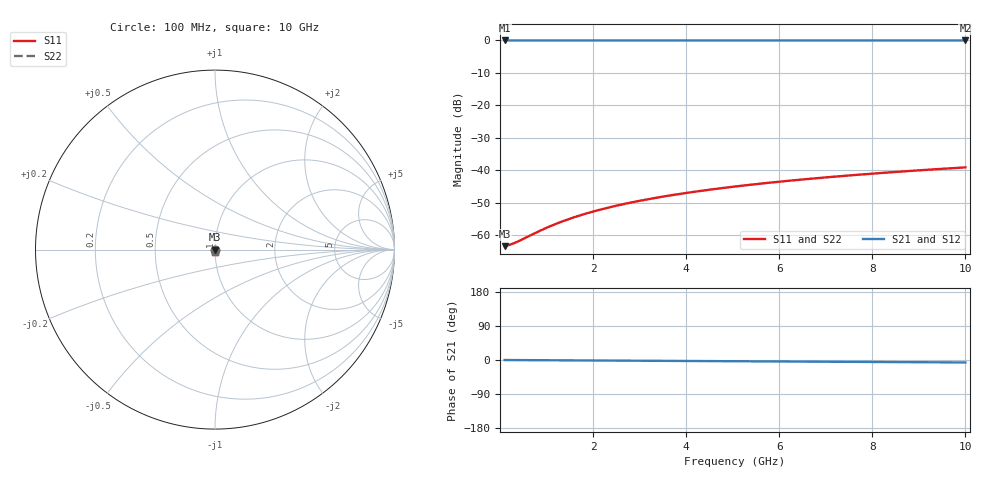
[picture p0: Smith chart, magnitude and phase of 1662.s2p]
# Hz S RI R 50.00
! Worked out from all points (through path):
!   100 points, 100 MHz to 10 GHz, reference 50 ohm
!   highest |S21| = -0.01 dB at 100 MHz (marker M1); lowest = 0.0 dB at 10 GHz (marker M2)
!   lowest |S11| = -63.4 dB at 100 MHz (marker M3), VSWR 1.00, Z = 50.1 - j0.0111 ohm
!   |S11| at or under -10 dB: start of sweep to end of sweep
!   |S22| runs from -63.4 to -39.1 dB; largest |S21 - S12| = 0
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1e8  0.000665 -0.000111  0.9993 -0.00113  0.9993 -0.00113  0.000665 -0.000111
2e8  0.000668 -0.000221  0.9993 -0.00226  0.9993 -0.00226  0.000668 -0.000221
3e8  0.00067 -0.000332  0.9993 -0.00339  0.9993 -0.00339  0.00067 -0.000332
4e8  0.000672 -0.000442  0.9993 -0.00452  0.9993 -0.00452  0.000672 -0.000442
9e8  0.00067 -0.000995  0.9993 -0.0102  0.9993 -0.0102  0.00067 -0.000995
1.2e9  0.000665 -0.00133  0.9992 -0.0136  0.9992 -0.0136  0.000665 -0.00133
1.5e9  0.000657 -0.00166  0.9992 -0.0169  0.9992 -0.0169  0.000657 -0.00166
1.8e9  0.000646 -0.00199  0.9991 -0.0203  0.9991 -0.0203  0.000646 -0.00199
2.1e9  0.000633 -0.00232  0.999 -0.0237  0.999 -0.0237  0.000633 -0.00232
2.5e9  0.000612 -0.00276  0.9989 -0.0282  0.9989 -0.0282  0.000612 -0.00276
2.9e9  0.000586 -0.00321  0.9987 -0.0328  0.9987 -0.0328  0.000586 -0.00321
3.4e9  0.000548 -0.00376  0.9985 -0.0384  0.9985 -0.0384  0.000548 -0.00376
3.8e9  0.000513 -0.0042  0.9983 -0.0429  0.9983 -0.0429  0.000513 -0.0042
4.2e9  0.000475 -0.00464  0.9981 -0.0474  0.9981 -0.0474  0.000475 -0.00464
4.6e9  0.000432 -0.00509  0.9979 -0.052  0.9979 -0.052  0.000432 -0.00509
5.1e9  0.000372 -0.00564  0.9976 -0.0576  0.9976 -0.0576  0.000372 -0.00564
5.9e9  0.000264 -0.00652  0.997 -0.0666  0.997 -0.0666  0.000264 -0.00652
6.7e9  0.00014 -0.0074  0.9963 -0.0757  0.9963 -0.0757  0.00014 -0.0074
7.5e9  -4.35e-07 -0.00829  0.9956 -0.0847  0.9956 -0.0847  -4.35e-07 -0.00829
8.4e9  -0.000177 -0.00928  0.9946 -0.0949  0.9946 -0.0949  -0.000177 -0.00928
9.2e9  -0.000352 -0.0102  0.9937 -0.1039  0.9937 -0.1039  -0.000352 -0.0102
1e10  -0.000542 -0.011  0.9927 -0.1129  0.9927 -0.1129  -0.000542 -0.011
